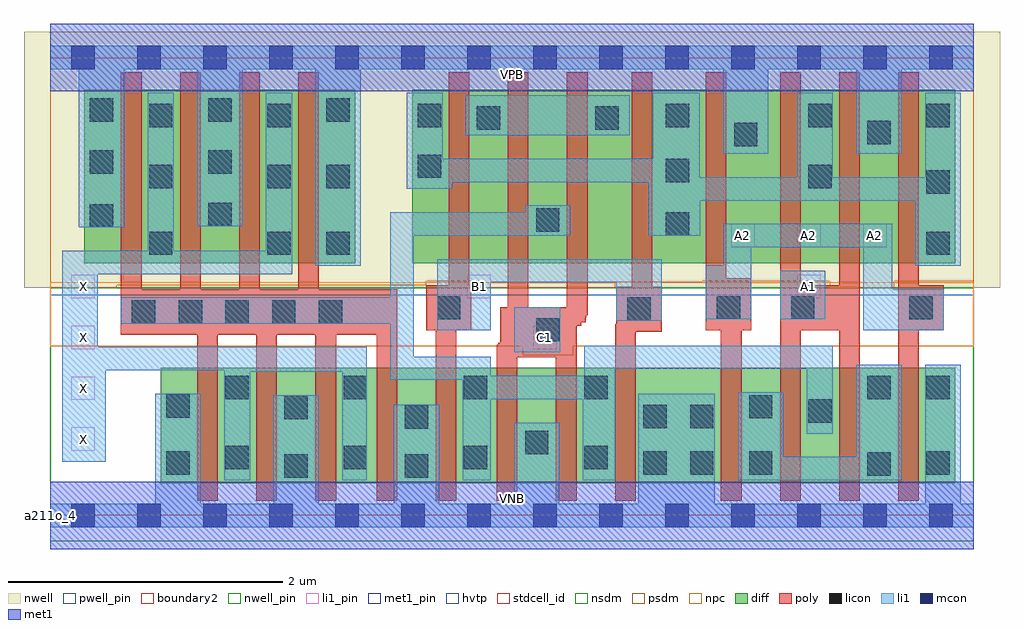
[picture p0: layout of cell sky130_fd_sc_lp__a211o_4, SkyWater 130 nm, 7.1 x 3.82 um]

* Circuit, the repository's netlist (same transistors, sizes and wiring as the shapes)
* Copyright 2020 The SkyWater PDK Authors
*
* Licensed under the Apache License, Version 2.0 (the "License");
* you may not use this file except in compliance with the License.
* You may obtain a copy of the License at
*
*     https://www.apache.org/licenses/LICENSE-2.0
*
* Unless required by applicable law or agreed to in writing, software
* distributed under the License is distributed on an "AS IS" BASIS,
* WITHOUT WARRANTIES OR CONDITIONS OF ANY KIND, either express or implied.
* See the License for the specific language governing permissions and
* limitations under the License.
*
* SPDX-License-Identifier: Apache-2.0

.SUBCKT sky130_fd_sc_lp__a211o_4 A1 A2 B1 C1 VGND VNB VPB VPWR X
*.PININFO A1:I A2:I B1:I C1:I VGND:I VNB:I VPB:I VPWR:I X:O
MMPA0 pndA A1 VPWR VPB sky130_fd_pr__pfet_01v8_hvt m=2 w=1.26U l=0.15U mult=1 sa=0.265
+ sb=0.265 sd=0.28 area=0.063 perim=1.14
MMPA1 pndA A2 VPWR VPB sky130_fd_pr__pfet_01v8_hvt m=2 w=1.26U l=0.15U mult=1 sa=0.265
+ sb=0.265 sd=0.28 area=0.063 perim=1.14
MMPB0 pndB B1 pndA VPB sky130_fd_pr__pfet_01v8_hvt m=2 w=1.26U l=0.15U mult=1 sa=0.265
+ sb=0.265 sd=0.28 area=0.063 perim=1.14
MMPC0 y C1 pndB VPB sky130_fd_pr__pfet_01v8_hvt m=2 w=1.26U l=0.15U mult=1 sa=0.265
+ sb=0.265 sd=0.28 area=0.063 perim=1.14
MMIPX X y VPWR VPB sky130_fd_pr__pfet_01v8_hvt m=4 w=1.26U l=0.15U mult=1 sa=0.265
+ sb=0.265 sd=0.28 area=0.063 perim=1.14
MMNA0 y A1 sndA1 VNB sky130_fd_pr__nfet_01v8 m=2 w=0.84U l=0.15U mult=1 sa=0.265
+ sb=0.265 sd=0.28 area=0.063 perim=1.14
MMNA1 sndA1 A2 VGND VNB sky130_fd_pr__nfet_01v8 m=2 w=0.84U l=0.15U mult=1 sa=0.265
+ sb=0.265 sd=0.28 area=0.063 perim=1.14
MMNB0 y B1 VGND VNB sky130_fd_pr__nfet_01v8 m=2 w=0.84U l=0.15U mult=1 sa=0.265
+ sb=0.265 sd=0.28 area=0.063 perim=1.14
MMNC0 y C1 VGND VNB sky130_fd_pr__nfet_01v8 m=2 w=0.84U l=0.15U mult=1 sa=0.265
+ sb=0.265 sd=0.28 area=0.063 perim=1.14
MMINX X y VGND VNB sky130_fd_pr__nfet_01v8 m=4 w=0.84U l=0.15U mult=1 sa=0.265
+ sb=0.265 sd=0.28 area=0.063 perim=1.14
.ENDS sky130_fd_sc_lp__a211o_4

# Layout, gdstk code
import gdstk
lib = gdstk.Library(unit=1e-6, precision=1e-09)
def R(c, l, rs):  # rectangles x0, y0, x1, y1
    for r in rs: c.add(gdstk.rectangle(r[:2], r[2:], *l))
def A(c, l, x, y, w, h, nx, ny, dx, dy):  # array of equal rectangles
    R(c, l, [(x+i*dx, y+j*dy, x+i*dx+w, y+j*dy+h) for i in range(nx) for j in range(ny)])
def P(c, l, *ps):  # polygons
    for p in ps: c.add(gdstk.Polygon(p, *l))
nwell_pin = (64, 16)
nwell = (64, 20)
diff = (65, 20)
poly = (66, 20)
licon = (66, 44)
li1_pin = (67, 16)
li1 = (67, 20)
mcon = (67, 44)
met1_pin = (68, 16)
met1 = (68, 20)
hvtp = (78, 44)
stdcell_id = (81, 4)
nsdm = (93, 44)
psdm = (94, 20)
npc = (95, 20)
pwell_pin = (122, 16)
boundary2 = (236, 0)

sky130_fd_sc_lp__a211o_4 = lib.new_cell('sky130_fd_sc_lp__a211o_4')
R(sky130_fd_sc_lp__a211o_4, nwell_pin, [(0,3.085,6.72,3.33)])
R(sky130_fd_sc_lp__a211o_4, nwell, [(-0.19,1.655,6.91,3.52)])
R(sky130_fd_sc_lp__a211o_4, diff, [(0.805,0.235,6.585,1.075), (0.25,1.835,2.22,3.095), (2.635,1.835,6.585,3.095)])
P(sky130_fd_sc_lp__a211o_4, poly, [(4.45,1.665),(4.38,1.665),(4.38,3.225),(4.23,3.225),(4.23,1.665),(4.12,1.665),(4.12,1.39),(4.11,1.39),(4.11,0.105),(4.26,0.105),(4.26,1.335),(4.45,1.335)],
  [(2.525,1.645),(1.955,1.645),(1.955,3.225),(1.805,3.225),(1.805,1.645),(1.525,1.645),(1.525,3.225),(1.375,3.225),(1.375,1.645),(1.095,1.645),(1.095,3.225),(0.945,3.225),(0.945,1.645),(0.665,1.645),(0.665,3.225),(0.515,3.225),(0.515,1.315),(1.07,1.315),(1.07,0.105),(1.22,0.105),(1.22,1.315),(1.5,1.315),(1.5,0.105),(1.65,0.105),(1.65,1.315),(1.93,1.315),(1.93,0.105),(2.08,0.105),(2.08,1.315),(2.375,1.315),(2.375,0.105),(2.525,0.105)],
  [(5.1,1.725),(4.92,1.725),(4.92,3.225),(4.77,3.225),(4.77,1.345),(4.88,1.345),(4.88,0.105),(5.03,0.105),(5.03,1.345),(5.1,1.345)],
  [(5.89,3.225),(5.74,3.225),(5.74,1.675),(5.46,1.675),(5.46,3.225),(5.31,3.225),(5.31,0.105),(5.46,0.105),(5.46,1.345),(5.74,1.345),(5.74,0.105),(5.89,0.105)],
  [(3.91,3.225),(3.76,3.225),(3.76,1.515),(3.48,1.515),(3.48,3.225),(3.33,3.225),(3.33,1.515),(3.275,1.515),(3.275,1.255),(3.26,1.255),(3.26,1.24),(3.25,1.24),(3.25,0.105),(3.4,0.105),(3.4,1.15),(3.68,1.15),(3.68,0.105),(3.83,0.105),(3.83,1.38),(3.865,1.38),(3.865,1.405),(3.895,1.405),(3.895,1.44),(3.9,1.44),(3.9,1.455),(3.91,1.455)],
  [(6.5,1.675),(6.32,1.675),(6.32,3.225),(6.17,3.225),(6.17,0.105),(6.32,0.105),(6.32,1.345),(6.5,1.345)],
  [(3.065,1.675),(3.05,1.675),(3.05,3.225),(2.9,3.225),(2.9,1.675),(2.735,1.675),(2.735,1.345),(2.805,1.345),(2.805,0.105),(2.955,0.105),(2.955,1.345),(3.065,1.345)])
A(sky130_fd_sc_lp__a211o_4, licon, 2.135, 0.335, 0.17, 0.17, 3, 2, 0.875, 0.51)
A(sky130_fd_sc_lp__a211o_4, licon, 0.595, 1.395, 0.17, 0.17, 5, 1, 0.34, 0)
A(sky130_fd_sc_lp__a211o_4, licon, 0.29, 2.865, 0.17, 0.17, 3, 1, 0.86, 0)
R(sky130_fd_sc_lp__a211o_4, licon, [(1.705,0.275,1.875,0.445), (2.58,0.275,2.75,0.445), (5.945,0.29,6.115,0.46), (0.845,0.295,1.015,0.465), (4.315,0.295,4.485,0.465), (4.655,0.295,4.825,0.465), (5.085,0.295,5.255,0.465), (6.375,0.295,6.545,0.465), (1.275,0.335,1.445,0.505), (3.455,0.445,3.625,0.615), (2.58,0.63,2.75,0.8), (4.315,0.635,4.485,0.805), (4.655,0.635,4.825,0.805), (5.515,0.675,5.685,0.845), (1.705,0.7,1.875,0.87), (5.085,0.705,5.255,0.875), (0.845,0.71,1.015,0.88), (1.275,0.845,1.445,1.015), (5.945,0.845,6.115,1.015), (6.375,0.845,6.545,1.015), (3.535,1.265,3.705,1.435), (4.2,1.415,4.37,1.585), (2.815,1.425,2.985,1.595), (4.85,1.425,5.02,1.595), (5.39,1.425,5.56,1.595), (6.25,1.425,6.42,1.595), (0.72,1.895,0.89,2.065), (1.58,1.895,1.75,2.065), (2.01,1.895,2.18,2.065), (6.375,1.895,6.545,2.065), (4.48,2.035,4.65,2.205), (3.535,2.065,3.705,2.235), (0.29,2.095,0.46,2.265), (1.15,2.105,1.32,2.275), (6.375,2.34,6.545,2.51), (0.72,2.38,0.89,2.55), (1.58,2.38,1.75,2.55), (2.01,2.38,2.18,2.55), (5.515,2.38,5.685,2.55), (4.48,2.425,4.65,2.595), (2.675,2.455,2.845,2.625), (0.29,2.485,0.46,2.655), (1.15,2.485,1.32,2.655), (4.975,2.685,5.145,2.855), (5.945,2.7,6.115,2.87), (3.105,2.805,3.275,2.975), (3.965,2.805,4.135,2.975), (0.72,2.825,0.89,2.995), (1.58,2.825,1.75,2.995), (2.675,2.825,2.845,2.995), (4.48,2.825,4.65,2.995), (5.515,2.825,5.685,2.995), (6.375,2.825,6.545,2.995)])
A(sky130_fd_sc_lp__a211o_4, li1_pin, 0.155, 0.47, 0.17, 0.17, 1, 4, 0, 0.37)
A(sky130_fd_sc_lp__a211o_4, li1_pin, 4.955, 1.95, 0.17, 0.17, 3, 1, 0.48, 0)
R(sky130_fd_sc_lp__a211o_4, li1_pin, [(3.515,1.21,3.685,1.38), (3.035,1.58,3.205,1.75), (5.435,1.58,5.605,1.75)])
R(sky130_fd_sc_lp__a211o_4, li1, [(3.375,1.185,3.71,1.515), (5.31,1.425,5.64,1.78), (3.025,2.765,4.215,3.055)])
P(sky130_fd_sc_lp__a211o_4, li1, [(6.72,0.085),(6.625,0.085),(6.625,1.095),(6.365,1.095),(6.365,0.085),(4.835,0.085),(4.835,0.885),(4.28,0.885),(4.28,0.085),(3.705,0.085),(3.705,0.675),(3.375,0.675),(3.375,0.085),(2.83,0.085),(2.83,0.805),(2.5,0.805),(2.5,0.085),(1.955,0.085),(1.955,0.875),(1.625,0.875),(1.625,0.085),(1.095,0.085),(1.095,0.885),(0.765,0.885),(0.765,0.085),(0,0.085),(0,-0.085),(6.72,-0.085)],
  [(6.195,1.095),(5.865,1.095),(5.865,0.425),(5.335,0.425),(5.335,0.895),(5.005,0.895),(5.005,0.255),(6.195,0.255)],
  [(4.45,1.865),(2.815,1.865),(2.815,1.345),(3.205,1.345),(3.205,1.695),(4.12,1.695),(4.12,1.415),(4.45,1.415)],
  [(2.305,1.225),(0.345,1.225),(0.345,1.755),(1.76,1.755),(1.76,3.075),(1.57,3.075),(1.57,1.925),(0.9,1.925),(0.9,3.075),(0.71,3.075),(0.71,1.925),(0.09,1.925),(0.09,0.39),(0.405,0.39),(0.405,1.055),(1.265,1.055),(1.265,0.255),(1.455,0.255),(1.455,1.045),(2.125,1.045),(2.125,0.255),(2.305,0.255)],
  [(6.72,3.415),(0,3.415),(0,3.245),(0.21,3.245),(0.21,2.095),(0.54,2.095),(0.54,3.245),(1.07,3.245),(1.07,2.105),(1.4,2.105),(1.4,3.245),(1.93,3.245),(1.93,1.815),(2.26,1.815),(2.26,3.245),(4.895,3.245),(4.895,2.63),(5.225,2.63),(5.225,3.245),(5.865,3.245),(5.865,2.63),(6.195,2.63),(6.195,3.245),(6.72,3.245)],
  [(5.695,1.235),(3.885,1.235),(3.885,1.015),(3.205,1.015),(3.205,1.155),(2.645,1.155),(2.645,2.035),(3.785,2.035),(3.785,2.255),(3.455,2.255),(3.455,2.205),(2.475,2.205),(2.475,1.585),(0.515,1.585),(0.515,1.395),(2.475,1.395),(2.475,0.985),(3,0.985),(3,0.255),(3.205,0.255),(3.205,0.845),(3.875,0.845),(3.875,0.255),(4.11,0.255),(4.11,1.065),(5.505,1.065),(5.505,0.595),(5.695,0.595)],
  [(6.625,3.075),(6.365,3.075),(6.365,2.46),(5.695,2.46),(5.695,3.075),(5.435,3.075),(5.435,2.46),(4.725,2.46),(4.725,3.075),(4.385,3.075),(4.385,2.595),(2.855,2.595),(2.855,3.075),(2.595,3.075),(2.595,2.375),(2.925,2.375),(2.925,2.425),(4.355,2.425),(4.355,2.035),(4.73,2.035),(4.73,2.29),(6.295,2.29),(6.295,1.815),(6.625,1.815)],
  [(6.5,1.645),(6.125,1.645),(6.125,2.12),(4.9,2.12),(4.9,1.82),(4.77,1.82),(4.77,1.425),(5.1,1.425),(5.1,1.95),(5.915,1.95),(5.915,1.345),(6.5,1.345)])
A(sky130_fd_sc_lp__a211o_4, mcon, 0.155, -0.085, 0.17, 0.17, 14, 2, 0.48, 3.33)
R(sky130_fd_sc_lp__a211o_4, met1_pin, [(0,0,6.72,0.245), (0,3.085,6.72,3.33)])
R(sky130_fd_sc_lp__a211o_4, met1, [(0,-0.245,6.72,0.245), (0,3.085,6.72,3.575)])
R(sky130_fd_sc_lp__a211o_4, hvtp, [(0,1.6,6.72,3.33)])
R(sky130_fd_sc_lp__a211o_4, stdcell_id, [(0,0,6.72,3.33)])
R(sky130_fd_sc_lp__a211o_4, nsdm, [(0,-0.19,6.72,1.655)])
P(sky130_fd_sc_lp__a211o_4, psdm, [(6.72,3.52),(0,3.52),(0,1.655),(0.485,1.655),(0.485,1.675),(2.735,1.675),(2.735,1.705),(3.15,1.705),(3.15,1.655),(4.11,1.655),(4.11,1.695),(4.74,1.695),(4.74,1.705),(5.67,1.705),(5.67,1.655),(6.14,1.655),(6.14,1.705),(6.72,1.705)])
P(sky130_fd_sc_lp__a211o_4, npc, [(6.72,1.695),(0,1.695),(0,1.23),(3.44,1.23),(3.44,1.165),(3.805,1.165),(3.805,1.23),(6.72,1.23)])
R(sky130_fd_sc_lp__a211o_4, pwell_pin, [(0,0,6.72,0.245)])
R(sky130_fd_sc_lp__a211o_4, boundary2, [(0,0,6.72,3.33)])
sky130_fd_sc_lp__a211o_4.add(gdstk.Label('VNB', (3.36,0.123), layer=64, texttype=59))
sky130_fd_sc_lp__a211o_4.add(gdstk.Label('VPB', (3.36,3.208), layer=64, texttype=5))
sky130_fd_sc_lp__a211o_4.add(gdstk.Label('a211o_4', (0,0), layer=83, texttype=44))
sky130_fd_sc_lp__a211o_4.add(gdstk.Label('VPWR', (3.36,3.208), layer=68, texttype=5))
sky130_fd_sc_lp__a211o_4.add(gdstk.Label('VGND', (3.36,0.123), layer=68, texttype=5))
sky130_fd_sc_lp__a211o_4.add(gdstk.Label('A1', (5.52,1.665), layer=67, texttype=5))
sky130_fd_sc_lp__a211o_4.add(gdstk.Label('A2', (5.04,2.035), layer=67, texttype=5))
sky130_fd_sc_lp__a211o_4.add(gdstk.Label('A2', (5.52,2.035), layer=67, texttype=5))
sky130_fd_sc_lp__a211o_4.add(gdstk.Label('A2', (6,2.035), layer=67, texttype=5))
sky130_fd_sc_lp__a211o_4.add(gdstk.Label('C1', (3.6,1.295), layer=67, texttype=5))
sky130_fd_sc_lp__a211o_4.add(gdstk.Label('X', (0.24,0.555), layer=67, texttype=5))
sky130_fd_sc_lp__a211o_4.add(gdstk.Label('X', (0.24,0.925), layer=67, texttype=5))
sky130_fd_sc_lp__a211o_4.add(gdstk.Label('X', (0.24,1.295), layer=67, texttype=5))
sky130_fd_sc_lp__a211o_4.add(gdstk.Label('X', (0.24,1.665), layer=67, texttype=5))
sky130_fd_sc_lp__a211o_4.add(gdstk.Label('B1', (3.12,1.665), layer=67, texttype=5))

lib.write_gds('sky130_fd_sc_lp__a211o_4.gds')
